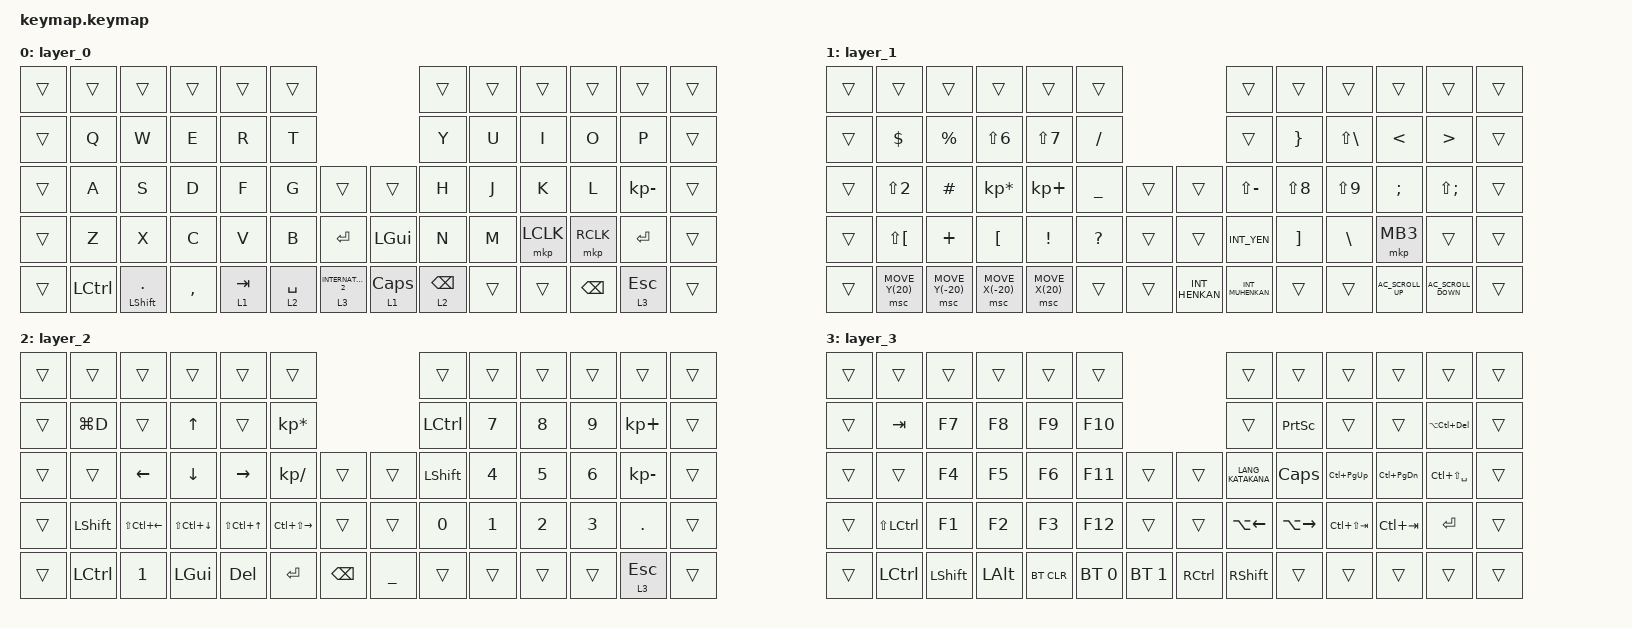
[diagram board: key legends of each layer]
#include <behaviors.dtsi>
#include <dt-bindings/zmk/bt.h>
#include <dt-bindings/zmk/keys.h>
#include <dt-bindings/zmk/pointing.h>

/ {
    combos {
        compatible = "zmk,combos";

        bt_clear {
            bindings = <&bt BT_CLR>;
            key-positions = <28 29>;
            layers = <2>;
        };
    };

    keymap {
        compatible = "zmk,keymap";

        layer_0 {
            bindings = <
&trans  &trans     &trans                 &trans     &trans     &trans                                              &trans           &trans  &trans     &trans         &trans        &trans
&trans  &kp Q      &kp W                  &kp E      &kp R      &kp T                                               &kp Y            &kp U   &kp I      &kp O          &kp P         &trans
&trans  &kp A      &kp S                  &kp D      &kp F      &kp G        &trans                 &trans          &kp H            &kp J   &kp K      &kp L          &kp KP_MINUS  &trans
&trans  &kp Z      &kp X                  &kp C      &kp V      &kp B        &kp RETURN             &kp LEFT_GUI    &kp N            &kp M   &mkp LCLK  &mkp RCLK      &kp ENTER     &trans
&trans  &kp LCTRL  &mt LEFT_SHIFT PERIOD  &kp COMMA  &lt 1 TAB  &lt 2 SPACE  &lt 3 INTERNATIONAL_2  &lt 1 CAPSLOCK  &lt 2 BACKSPACE  &trans  &trans     &kp BACKSPACE  &lt 3 ESC     &trans
            >;
        };

        layer_1 {
            bindings = <
&trans  &trans                &trans            &trans            &trans           &trans                                  &trans            &trans             &trans             &trans              &trans                &trans
&trans  &kp DOLLAR            &kp PERCENT       &kp LS(N6)        &kp LS(N7)       &kp SLASH                               &trans            &kp RIGHT_BRACE    &kp LS(BACKSLASH)  &kp LESS_THAN       &kp GREATER_THAN      &trans
&trans  &kp LS(N2)            &kp HASH          &kp KP_MULTIPLY   &kp KP_PLUS      &kp UNDERSCORE  &trans  &trans          &kp LS(MINUS)     &kp LS(NUMBER_8)   &kp LS(NUMBER_9)   &kp SEMICOLON       &kp LS(SEMICOLON)     &trans
&trans  &kp LS(LEFT_BRACKET)  &kp PLUS          &kp LEFT_BRACKET  &kp EXCLAMATION  &kp QUESTION    &trans  &trans          &kp INT_YEN       &kp RIGHT_BRACKET  &kp BSLH           &mkp MB3            &trans                &trans
&trans  &msc MOVE_Y(20)       &msc MOVE_Y(-20)  &msc MOVE_X(-20)  &msc MOVE_X(20)  &trans          &trans  &kp INT_HENKAN  &kp INT_MUHENKAN  &trans             &trans             &kp C_AC_SCROLL_UP  &kp C_AC_SCROLL_DOWN  &trans
            >;
        };

        layer_2 {
            bindings = <
&trans  &trans            &trans                  &trans                  &trans                &trans                                                  &trans          &trans        &trans        &trans        &trans        &trans
&trans  &kp LG(D)         &trans                  &kp UP_ARROW            &trans                &kp KP_MULTIPLY                                         &kp LCTRL       &kp NUMBER_7  &kp NUMBER_8  &kp NUMBER_9  &kp KP_PLUS   &trans
&trans  &trans            &kp LEFT_ARROW          &kp DOWN_ARROW          &kp RIGHT_ARROW       &kp KP_DIVIDE            &trans         &trans          &kp LEFT_SHIFT  &kp NUMBER_4  &kp NUMBER_5  &kp NUMBER_6  &kp KP_MINUS  &trans
&trans  &kp LEFT_SHIFT    &kp LS(LC(LEFT_ARROW))  &kp LS(LC(DOWN_ARROW))  &kp LS(LC(UP_ARROW))  &kp LC(LS(RIGHT_ARROW))  &trans         &trans          &kp NUMBER_0    &kp N1        &kp NUMBER_2  &kp NUMBER_3  &kp PERIOD    &trans
&trans  &kp LEFT_CONTROL  &kp N1                  &kp LEFT_GUI            &kp DEL               &kp ENTER                &kp BACKSPACE  &kp UNDERSCORE  &trans          &trans        &trans        &trans        &lt 3 ESC     &trans
            >;
        };

        layer_3 {
            bindings = <
&trans  &trans                &trans      &trans        &trans      &trans                                         &trans              &trans               &trans           &trans             &trans              &trans
&trans  &kp TAB               &kp F7      &kp F8        &kp F9      &kp F10                                        &trans              &kp PRINTSCREEN      &trans           &trans             &kp LA(LC(DELETE))  &trans
&trans  &trans                &kp F4      &kp F5        &kp F6      &kp F11       &trans        &trans             &kp LANG_KATAKANA   &kp CAPSLOCK         &kp LC(PAGE_UP)  &kp LC(PAGE_DOWN)  &kp LC(LS(SPACE))   &trans
&trans  &kp LS(LEFT_CONTROL)  &kp F1      &kp F2        &kp F3      &kp F12       &trans        &trans             &kp LA(LEFT_ARROW)  &kp LA(RIGHT_ARROW)  &kp LC(LS(TAB))  &kp LC(TAB)        &kp RETURN          &trans
&trans  &kp LEFT_CONTROL      &kp LSHIFT  &kp LEFT_ALT  &bt BT_CLR  &bt BT_SEL 0  &bt BT_SEL 1  &kp RIGHT_CONTROL  &kp RIGHT_SHIFT     &trans               &trans           &trans             &trans              &trans
            >;
        };
    };
};
